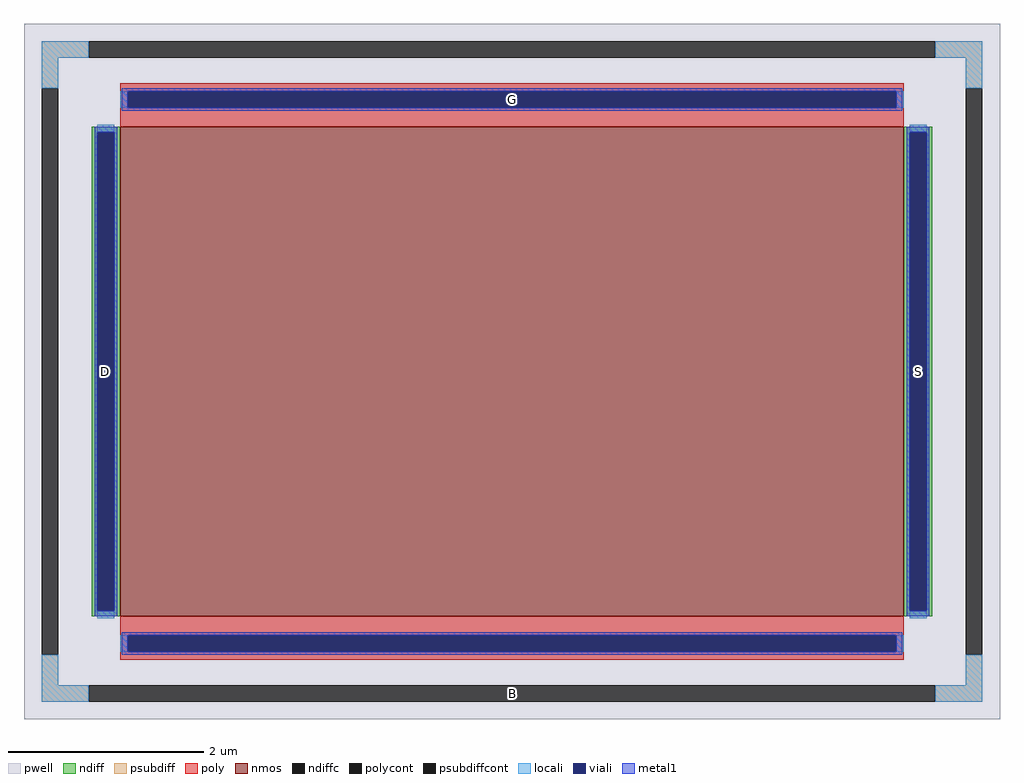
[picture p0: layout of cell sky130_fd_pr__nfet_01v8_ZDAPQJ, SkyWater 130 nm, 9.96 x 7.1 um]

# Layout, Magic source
magic
tech sky130A
magscale 1 2
<< pwell >>
rect -996 -710 996 710
<< nmos >>
rect -800 -500 800 500
<< ndiff >>
rect -858 488 -800 500
rect -858 -488 -846 488
rect -812 -488 -800 488
rect -858 -500 -800 -488
rect 800 488 858 500
rect 800 -488 812 488
rect 846 -488 858 488
rect 800 -500 858 -488
<< ndiffc >>
rect -846 -488 -812 488
rect 812 -488 846 488
<< psubdiff >>
rect -960 640 -864 674
rect 864 640 960 674
rect -960 578 -926 640
rect 926 578 960 640
rect -960 -640 -926 -578
rect 926 -640 960 -578
rect -960 -674 -864 -640
rect 864 -674 960 -640
<< psubdiffcont >>
rect -864 640 864 674
rect -960 -578 -926 578
rect 926 -578 960 578
rect -864 -674 864 -640
<< poly >>
rect -800 572 800 588
rect -800 538 -784 572
rect 784 538 800 572
rect -800 500 800 538
rect -800 -538 800 -500
rect -800 -572 -784 -538
rect 784 -572 800 -538
rect -800 -588 800 -572
<< polycont >>
rect -784 538 784 572
rect -784 -572 784 -538
<< locali >>
rect -960 640 -864 674
rect 864 640 960 674
rect -960 578 -926 640
rect 926 578 960 640
rect -800 538 -784 572
rect 784 538 800 572
rect -846 488 -812 504
rect -846 -504 -812 -488
rect 812 488 846 504
rect 812 -504 846 -488
rect -800 -572 -784 -538
rect 784 -572 800 -538
rect -960 -640 -926 -578
rect 926 -640 960 -578
rect -960 -674 -864 -640
rect 864 -674 960 -640
<< viali >>
rect -784 538 784 572
rect -846 -488 -812 488
rect 812 -488 846 488
rect -784 -572 784 -538
<< metal1 >>
rect -796 572 796 578
rect -796 538 -784 572
rect 784 538 796 572
rect -796 532 796 538
rect -852 488 -806 500
rect -852 -488 -846 488
rect -812 -488 -806 488
rect -852 -500 -806 -488
rect 806 488 852 500
rect 806 -488 812 488
rect 846 -488 852 488
rect 806 -500 852 -488
rect -796 -538 796 -532
rect -796 -572 -784 -538
rect 784 -572 796 -538
rect -796 -578 796 -572
<< labels >>
rlabel psubdiffcont 0 -657 0 -657 0 B
port 1 nsew
rlabel ndiffc -829 0 -829 0 0 D
port 2 nsew
rlabel ndiffc 829 0 829 0 0 S
port 3 nsew
rlabel polycont 0 555 0 555 0 G
port 4 nsew
<< properties >>
string FIXED_BBOX -943 -657 943 657
string gencell sky130_fd_pr__nfet_01v8
string library sky130
string parameters w 5 l 8 m 1 nf 1 diffcov 100 polycov 100 guard 1 glc 1 grc 1 gtc 1 gbc 1 tbcov 100 rlcov 100 topc 1 botc 1 poverlap 0 doverlap 1 lmin 0.15 wmin 0.42 class mosfet compatible {sky130_fd_pr__nfet_01v8 sky130_fd_pr__nfet_01v8_lvt  sky130_fd_bs_flash__special_sonosfet_star  sky130_fd_pr__nfet_g5v0d10v5 sky130_fd_pr__nfet_05v0_nvt  sky130_fd_pr__nfet_03v3_nvt} full_metal 1 conn_gates 0 viasrc 100 viadrn 100 viagate 100 viagb 0 viagr 0 viagl 0 viagt 0 doports 1
<< end >>
